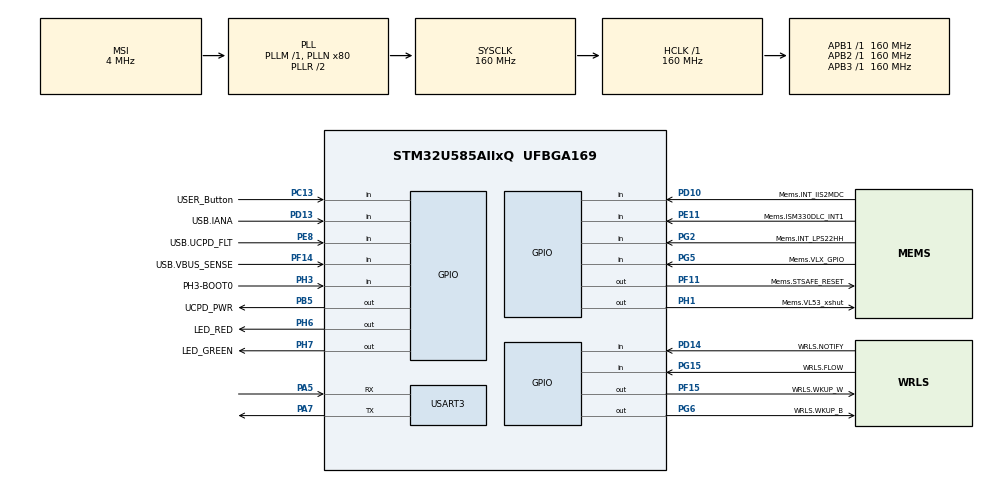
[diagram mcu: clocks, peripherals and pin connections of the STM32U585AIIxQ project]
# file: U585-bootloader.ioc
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CORTEX_M33_NS.userName=CORTEX_M33
CRC.InputDataFormat=CRC_INPUTDATA_FORMAT_WORDS
GPDMA1.CIRCULARMODE_GPDMACH10=DISABLE
GPDMA1.DATAHANDLING_GPDMACH10=NONE
GPDMA1.DESTINC_GPDMACH10=DMA_DINC_INCREMENTED
GPDMA1.DIRECTION_GPDMACH11=DMA_MEMORY_TO_PERIPH
GPDMA1.IPHANDLE_GPDMACH10-SIMPLEREQUEST_GPDMACH10=__NULL
GPDMA1.IPHANDLE_GPDMACH11-SIMPLEREQUEST_GPDMACH11=__NULL
GPDMA1.REQUEST_GPDMACH10=GPDMA1_REQUEST_USART3_RX
GPDMA1.REQUEST_GPDMACH11=GPDMA1_REQUEST_USART3_TX
GPDMA1.SRCINC_GPDMACH10=DMA_SINC_FIXED
GPDMA1.TRANSFERALLOCATEDPORTDEST_GPDMACH11=DMA_DEST_ALLOCATED_PORT1
GPDMA1.TRANSFERALLOCATEDPORTSRC_GPDMACH11=DMA_SRC_ALLOCATED_PORT1
Mcu.Family=STM32U5
Mcu.Name=STM32U585AIIxQ
Mcu.Package=UFBGA169
NVIC.GPDMA1_Channel10_IRQn=true\:0\:0\:false\:false\:true\:false\:true\:true
NVIC.GPDMA1_Channel11_IRQn=true\:0\:0\:false\:false\:true\:false\:true\:true
NVIC.PriorityGroup=NVIC_PRIORITYGROUP_4
NVIC.USART3_IRQn=true\:0\:0\:false\:false\:true\:true\:true\:true
PA10.GPIO_Label=T.VCP_RX
PA10.Signal=USART1_RX
PA11.GPIO_Label=USB.C_P
PA11.Signal=USB_OTG_FS_DM
PA12.GPIO_Label=USB.C_P
PA12.Signal=USB_OTG_FS_DP
PA13\ (JTMS/SWDIO).GPIO_Label=T.SWDIO
PA13\ (JTMS/SWDIO).Signal=DEBUG_JTMS-SWDIO
PA14\ (JTCK/SWCLK).GPIO_Label=T.SWCLK
PA14\ (JTCK/SWCLK).Signal=DEBUG_JTCK-SWCLK
PA15\ (JTDI).GPIO_Label=USB.UCPD_CC1
PA15\ (JTDI).Signal=UCPD1_CC1
PA5.Mode=Asynchronous
PA5.Signal=USART3_RX
PA7.Mode=Asynchronous
PA7.Signal=USART3_TX
PA9.GPIO_Label=T.VCP_TX
PA9.Signal=USART1_TX
PB1.GPIO_Label=MIC.SDIN0
PB1.Signal=MDF1_SDI0
PB10.GPIO_Label=OCTOSPI.R_CLK_P
PB10.Signal=OCTOSPIM_P1_CLK
PB11.GPIO_Label=OCTOSPI.R_NCS
PB11.Signal=OCTOSPIM_P1_NCS
PB12.GPIO_Label=WRLS.SPI2_NSS
PB12.Signal=SPI2_NSS
PB15.GPIO_Label=USB.UCPD_CC2
PB15.Signal=UCPD1_CC2
PB3\ (JTDO/TRACESWO).GPIO_Label=T.SWO
PB3\ (JTDO/TRACESWO).Signal=DEBUG_JTDO-SWO
PB5.GPIO_Label=UCPD_PWR
PB5.Signal=GPIO_Output
PB8.Signal=I2C1_SCL
PB9.Signal=I2C1_SDA
PC10.GPIO_Label=WRLS.UART4_TX
PC10.Signal=UART4_TX
PC11.GPIO_Label=WRLS.UART4_RX
PC11.Signal=UART4_RX
PC13.GPIO_Label=USER_Button
PC13.Signal=GPIO_Input
PC14-OSC32_IN\ (PC14).GPIO_Label=PC14-OSC32_IN
PC14-OSC32_IN\ (PC14).Signal=RCC_OSC32_IN
PC15-OSC32_OUT\ (PC15).GPIO_Label=PC15-OSC32_OUT
PC15-OSC32_OUT\ (PC15).Signal=RCC_OSC32_OUT
PC3.GPIO_Label=OCTOSPI.R_IO6
PC3.Signal=OCTOSPIM_P1_IO6
PD1.GPIO_Label=WRLS.SPI2_SCK
PD1.Signal=SPI2_SCK
PD10.GPIO_Label=Mems.INT_IIS2MDC
PD10.Signal=GPIO_Input
PD13.GPIO_Label=USB.IANA
PD13.Signal=GPIO_Input
PD14.GPIO_Label=WRLS.NOTIFY
PD14.Signal=GPIO_Input
PD3.GPIO_Label=WRLS.SPI2_MISO
PD3.Signal=SPI2_MISO
PD4.GPIO_Label=WRLS.SPI2_MOSI
PD4.Signal=SPI2_MOSI
PD7.GPIO_Label=OCTOSPI.R_IO7
PD7.Signal=OCTOSPIM_P1_IO7
PE10.GPIO_Label=MIC.SDINx
PE10.Signal=ADF1_SDI0
PE11.GPIO_Label=Mems.ISM330DLC_INT1
PE11.Signal=GPIO_Input
PE3.GPIO_Label=OCTOSPI.R_DQS
PE3.Signal=OCTOSPIM_P1_DQS
PE8.GPIO_Label=USB.UCPD_FLT
PE8.Signal=GPIO_Input
PE9.GPIO_Label=MIC.CCK0
PE9.Signal=ADF1_CCK0
PF0.GPIO_Label=OCTOSPI.F_IO0
PF0.Signal=OCTOSPIM_P2_IO0
PF1.GPIO_Label=OCTOSPI.F_IO1
PF1.Signal=OCTOSPIM_P2_IO1
PF10.GPIO_Label=MIC.CCK1
PF10.Signal=MDF1_CCK1
PF11.GPIO_Label=Mems.STSAFE_RESET
PF11.Signal=GPIO_Output
PF12.GPIO_Label=OCTOSPI.F_DQS
PF12.Signal=OCTOSPIM_P2_DQS
PF14.GPIO_Label=USB.VBUS_SENSE
PF14.Signal=GPIO_Input
PF15.GPIO_Label=WRLS.WKUP_W
PF15.Signal=GPIO_Output
PF2.GPIO_Label=OCTOSPI.F_IO2
PF2.Signal=OCTOSPIM_P2_IO2
PF3.GPIO_Label=OCTOSPI.F_IO3
PF3.Signal=OCTOSPIM_P2_IO3
PF4.GPIO_Label=OCTOSPI.F_CLK_P
PF4.Signal=OCTOSPIM_P2_CLK
PF6.GPIO_Label=OCTOSPI.R_IO3
PF6.Signal=OCTOSPIM_P1_IO3
PF7.GPIO_Label=OCTOSPI.R_IO2
PF7.Signal=OCTOSPIM_P1_IO2
PF8.GPIO_Label=OCTOSPI.R_IO0
PF8.Signal=OCTOSPIM_P1_IO0
PF9.GPIO_Label=OCTOSPI.R_IO1
PF9.Signal=OCTOSPIM_P1_IO1
PG15.GPIO_Label=WRLS.FLOW
PG15.Signal=GPIO_Input
PG2.GPIO_Label=Mems.INT_LPS22HH
PG2.Signal=GPIO_Input
PG5.GPIO_Label=Mems.VLX_GPIO
PG5.Signal=GPIO_Input
PG6.GPIO_Label=WRLS.WKUP_B
PG6.Signal=GPIO_Output
PH1-OSC_OUT\ (PH1).GPIO_Label=Mems.VL53_xshut
PH1-OSC_OUT\ (PH1).Signal=GPIO_Output
PH10.GPIO_Label=OCTOSPI.F_IO5
PH10.Signal=OCTOSPIM_P2_IO5
PH11.GPIO_Label=OCTOSPI.F_IO6
PH11.Signal=OCTOSPIM_P2_IO6
PH12.GPIO_Label=OCTOSPI.F_IO7
PH12.Signal=OCTOSPIM_P2_IO7
PH2.GPIO_Label=OCTOSPI.R_IO4
PH2.Signal=OCTOSPIM_P1_IO4
PH3-BOOT0.GPIO_Label=PH3-BOOT0
PH3-BOOT0.Signal=GPIO_Input
PH4.Signal=I2C2_SCL
PH5.Signal=I2C2_SDA
PH6.GPIO_Label=LED_RED
PH6.Signal=GPIO_Output
PH7.GPIO_Label=LED_GREEN
PH7.Signal=GPIO_Output
PH9.GPIO_Label=OCTOSPI.F_IO4
PH9.Signal=OCTOSPIM_P2_IO4
PI0.GPIO_Label=OCTOSPI.R_IO5
PI0.Signal=OCTOSPIM_P1_IO5
PI5.GPIO_Label=OCTOSPI.F_NCS
PI5.Signal=OCTOSPIM_P2_NCS
PWR.PowerMode=PWR_SMPS_SUPPLY
ProjectManager.HeapSize=0x200
ProjectManager.StackSize=0x400
ProjectManager.TargetToolchain=STM32CubeIDE
RCC.ADCFreq_Value=16000000
RCC.AHBFreq_Value=160000000
RCC.APB1Freq_Value=160000000
RCC.APB1TimFreq_Value=160000000
RCC.APB2Freq_Value=160000000
RCC.APB2TimFreq_Value=160000000
RCC.APB3Freq_Value=160000000
RCC.CortexFreq_Value=160000000
RCC.DACCLockSelectionVirtual=RCC_DAC1CLKSOURCE_LSI
RCC.EPOD_VALUE=4000000
RCC.HCLKFreq_Value=160000000
RCC.HSE_VALUE=16000000
RCC.HSI48_VALUE=48000000
RCC.HSI_VALUE=16000000
RCC.LSE_VALUE=32768
RCC.LSIDIV_VALUE=32000
RCC.MSI_VALUE=4000000
RCC.PLLN=80
RCC.SYSCLKFreq_VALUE=160000000
RCC.SYSCLKSource=RCC_SYSCLKSOURCE_PLLCLK
RCC.USBFreq_Value=48000000
RCC.VCOOutputFreq_Value=320000000
USART3.VirtualMode-Asynchronous=VM_ASYNC
VP_CRC_VS_CRC.Mode=CRC_Activate
VP_GPDMA1_VS_GPDMACH10.Mode=SIMPLEREQUEST_GPDMACH10
VP_GPDMA1_VS_GPDMACH11.Mode=SIMPLEREQUEST_GPDMACH11
VP_ICACHE_VS_ICACHE.Mode=DirectMappedCache
VP_LPBAMQUEUE_VS_QUEUE.Mode=QUEUEMODE
VP_LPBAM_VS_SIG1.Mode=SmartRun
VP_LPBAM_VS_SIG4.Mode=LPDMA1
VP_MEMORYMAP_VS_MEMORYMAP.Mode=CurAppReg
VP_PWR_VS_LPOM.Mode=PowerOptimisation
VP_PWR_VS_SECSignals.Mode=Security/Privilege
board=B-U585I-IOT02A

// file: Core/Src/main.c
/* USER CODE BEGIN Header */
/**
  ******************************************************************************
  * @file           : main.c
  * @brief          : Main program body
  ******************************************************************************
  * @attention
  *
  * Copyright (c) 2025 STMicroelectronics.
  * All rights reserved.
  *
  * This software is licensed under terms that can be found in the LICENSE file
  * in the root directory of this software component.
  * If no LICENSE file comes with this software, it is provided AS-IS.
  *
  ******************************************************************************
  */
/* USER CODE END Header */
#include "main.h"

/* USER CODE BEGIN Includes */
#include "stdio.h"
#include "serial_port.h"
#include "string.h"
#include "flash_control.h"
/* USER CODE END Includes */

CRC_HandleTypeDef hcrc;

UART_HandleTypeDef huart3;
DMA_HandleTypeDef handle_GPDMA1_Channel11;
DMA_HandleTypeDef handle_GPDMA1_Channel10;

/* USER CODE BEGIN PV */
uint8_t received_data[400];
static uint16_t uart_size;
/* USER CODE END PV */

void SystemClock_Config(void);
static void SystemPower_Config(void);
static void MX_GPIO_Init(void);
static void MX_GPDMA1_Init(void);
static void MX_ICACHE_Init(void);
static void MX_CRC_Init(void);
static void MX_USART3_UART_Init(void);

/* USER CODE BEGIN 0 */
void HAL_UARTEx_RxEventCallback(UART_HandleTypeDef *huart, uint16_t Size)
{
	uart_size = Size;
	HAL_UARTEx_ReceiveToIdle_DMA(&huart3, received_data, sizeof(received_data));
	update_firmware(received_data, uart_size);
}
/* USER CODE END 0 */

int main(void)
{

  /* MCU Configuration--------------------------------------------------------*/

  /* Reset of all peripherals, Initializes the Flash interface and the Systick. */
  HAL_Init();

  /* Configure the System Power */
  SystemPower_Config();

  /* Configure the system clock */
  SystemClock_Config();

  /* Initialize all configured peripherals */
  MX_GPIO_Init();
  MX_GPDMA1_Init();
  MX_ICACHE_Init();
  MX_CRC_Init();
  MX_USART3_UART_Init();

  /* USER CODE BEGIN 2 */
  HAL_UARTEx_ReceiveToIdle_DMA(&huart3, received_data, sizeof(received_data));
  HAL_GPIO_WritePin(LED_GREEN_GPIO_Port, LED_GREEN_Pin, GPIO_PIN_SET);
  HAL_GPIO_WritePin(LED_RED_GPIO_Port, LED_RED_Pin, GPIO_PIN_SET);
  /* USER CODE END 2 */
  /* Infinite loop */
  /* USER CODE BEGIN WHILE */
  while (1)
  {
	  HAL_GPIO_WritePin(LED_GREEN_GPIO_Port, LED_GREEN_Pin, GPIO_PIN_RESET);
	  HAL_Delay(100);
	  HAL_GPIO_WritePin(LED_GREEN_GPIO_Port, LED_GREEN_Pin, GPIO_PIN_SET);
	  HAL_Delay(100);
    /* USER CODE END WHILE */

  }
}

void SystemClock_Config(void)
{
  RCC_OscInitTypeDef RCC_OscInitStruct = {0};
  RCC_ClkInitTypeDef RCC_ClkInitStruct = {0};

  /** Configure the main internal regulator output voltage
  */
  if (HAL_PWREx_ControlVoltageScaling(PWR_REGULATOR_VOLTAGE_SCALE1) != HAL_OK)
  {
    Error_Handler();
  }

  /** Initializes the CPU, AHB and APB buses clocks
  */
  RCC_OscInitStruct.OscillatorType = RCC_OSCILLATORTYPE_MSI;
  RCC_OscInitStruct.MSIState = RCC_MSI_ON;
  RCC_OscInitStruct.MSICalibrationValue = RCC_MSICALIBRATION_DEFAULT;
  RCC_OscInitStruct.MSIClockRange = RCC_MSIRANGE_4;
  RCC_OscInitStruct.PLL.PLLState = RCC_PLL_ON;
  RCC_OscInitStruct.PLL.PLLSource = RCC_PLLSOURCE_MSI;
  RCC_OscInitStruct.PLL.PLLMBOOST = RCC_PLLMBOOST_DIV1;
  RCC_OscInitStruct.PLL.PLLM = 1;
  RCC_OscInitStruct.PLL.PLLN = 80;
  RCC_OscInitStruct.PLL.PLLP = 2;
  RCC_OscInitStruct.PLL.PLLQ = 2;
  RCC_OscInitStruct.PLL.PLLR = 2;
  RCC_OscInitStruct.PLL.PLLRGE = RCC_PLLVCIRANGE_0;
  RCC_OscInitStruct.PLL.PLLFRACN = 0;
  if (HAL_RCC_OscConfig(&RCC_OscInitStruct) != HAL_OK)
  {
    Error_Handler();
  }

  /** Initializes the CPU, AHB and APB buses clocks
  */
  RCC_ClkInitStruct.ClockType = RCC_CLOCKTYPE_HCLK|RCC_CLOCKTYPE_SYSCLK
                              |RCC_CLOCKTYPE_PCLK1|RCC_CLOCKTYPE_PCLK2
                              |RCC_CLOCKTYPE_PCLK3;
  RCC_ClkInitStruct.SYSCLKSource = RCC_SYSCLKSOURCE_PLLCLK;
  RCC_ClkInitStruct.AHBCLKDivider = RCC_SYSCLK_DIV1;
  RCC_ClkInitStruct.APB1CLKDivider = RCC_HCLK_DIV1;
  RCC_ClkInitStruct.APB2CLKDivider = RCC_HCLK_DIV1;
  RCC_ClkInitStruct.APB3CLKDivider = RCC_HCLK_DIV1;

  if (HAL_RCC_ClockConfig(&RCC_ClkInitStruct, FLASH_LATENCY_4) != HAL_OK)
  {
    Error_Handler();
  }
}

/**
  * @brief Power Configuration
  * @retval None
  */
static void SystemPower_Config(void)
{
  HAL_PWREx_EnableVddIO2();

  /*
   * Switch to SMPS regulator instead of LDO
   */
  if (HAL_PWREx_ConfigSupply(PWR_SMPS_SUPPLY) != HAL_OK)
  {
    Error_Handler();
  }
}

static void MX_CRC_Init(void)
{

  hcrc.Instance = CRC;
  hcrc.Init.DefaultPolynomialUse = DEFAULT_POLYNOMIAL_ENABLE;
  hcrc.Init.DefaultInitValueUse = DEFAULT_INIT_VALUE_ENABLE;
  hcrc.Init.InputDataInversionMode = CRC_INPUTDATA_INVERSION_NONE;
  hcrc.Init.OutputDataInversionMode = CRC_OUTPUTDATA_INVERSION_DISABLE;
  hcrc.InputDataFormat = CRC_INPUTDATA_FORMAT_WORDS;
  if (HAL_CRC_Init(&hcrc) != HAL_OK)
  {
    Error_Handler();
  }

}

static void MX_GPDMA1_Init(void)
{

  /* Peripheral clock enable */
  __HAL_RCC_GPDMA1_CLK_ENABLE();

  /* GPDMA1 interrupt Init */
    HAL_NVIC_SetPriority(GPDMA1_Channel10_IRQn, 0, 0);
    HAL_NVIC_EnableIRQ(GPDMA1_Channel10_IRQn);
    HAL_NVIC_SetPriority(GPDMA1_Channel11_IRQn, 0, 0);
    HAL_NVIC_EnableIRQ(GPDMA1_Channel11_IRQn);

}

static void MX_ICACHE_Init(void)
{

  /** Enable instruction cache in 1-way (direct mapped cache)
  */
  if (HAL_ICACHE_ConfigAssociativityMode(ICACHE_1WAY) != HAL_OK)
  {
    Error_Handler();
  }
  if (HAL_ICACHE_Enable() != HAL_OK)
  {
    Error_Handler();
  }

}

static void MX_USART3_UART_Init(void)
{

  huart3.Instance = USART3;
  huart3.Init.BaudRate = 115200;
  huart3.Init.WordLength = UART_WORDLENGTH_8B;
  huart3.Init.StopBits = UART_STOPBITS_1;
  huart3.Init.Parity = UART_PARITY_NONE;
  huart3.Init.Mode = UART_MODE_TX_RX;
  huart3.Init.HwFlowCtl = UART_HWCONTROL_NONE;
  huart3.Init.OverSampling = UART_OVERSAMPLING_16;
  huart3.Init.OneBitSampling = UART_ONE_BIT_SAMPLE_DISABLE;
  huart3.Init.ClockPrescaler = UART_PRESCALER_DIV1;
  huart3.AdvancedInit.AdvFeatureInit = UART_ADVFEATURE_NO_INIT;
  if (HAL_UART_Init(&huart3) != HAL_OK)
  {
    Error_Handler();
  }
  if (HAL_UARTEx_SetTxFifoThreshold(&huart3, UART_TXFIFO_THRESHOLD_1_8) != HAL_OK)
  {
    Error_Handler();
  }
  if (HAL_UARTEx_SetRxFifoThreshold(&huart3, UART_RXFIFO_THRESHOLD_1_8) != HAL_OK)
  {
    Error_Handler();
  }
  if (HAL_UARTEx_DisableFifoMode(&huart3) != HAL_OK)
  {
    Error_Handler();
  }

}

static void MX_GPIO_Init(void)
{
  GPIO_InitTypeDef GPIO_InitStruct = {0};

  /* GPIO Ports Clock Enable */
  __HAL_RCC_GPIOG_CLK_ENABLE();
  __HAL_RCC_GPIOC_CLK_ENABLE();
  __HAL_RCC_GPIOA_CLK_ENABLE();
  __HAL_RCC_GPIOI_CLK_ENABLE();
  __HAL_RCC_GPIOH_CLK_ENABLE();
  __HAL_RCC_GPIOB_CLK_ENABLE();
  __HAL_RCC_GPIOD_CLK_ENABLE();
  __HAL_RCC_GPIOE_CLK_ENABLE();
  __HAL_RCC_GPIOF_CLK_ENABLE();

  /*Configure GPIO pin Output Level */
  HAL_GPIO_WritePin(UCPD_PWR_GPIO_Port, UCPD_PWR_Pin, GPIO_PIN_RESET);

  /*Configure GPIO pin Output Level */
  HAL_GPIO_WritePin(GPIOH, LED_RED_Pin|LED_GREEN_Pin|Mems_VL53_xshut_Pin, GPIO_PIN_RESET);

  /*Configure GPIO pin Output Level */
  HAL_GPIO_WritePin(WRLS_WKUP_B_GPIO_Port, WRLS_WKUP_B_Pin, GPIO_PIN_RESET);

  /*Configure GPIO pin Output Level */
  HAL_GPIO_WritePin(GPIOF, Mems_STSAFE_RESET_Pin|WRLS_WKUP_W_Pin, GPIO_PIN_RESET);

  /*Configure GPIO pins : WRLS_FLOW_Pin Mems_VLX_GPIO_Pin Mems_INT_LPS22HH_Pin */
  GPIO_InitStruct.Pin = WRLS_FLOW_Pin|Mems_VLX_GPIO_Pin|Mems_INT_LPS22HH_Pin;
  GPIO_InitStruct.Mode = GPIO_MODE_INPUT;
  GPIO_InitStruct.Pull = GPIO_NOPULL;
  HAL_GPIO_Init(GPIOG, &GPIO_InitStruct);

  /*Configure GPIO pins : WRLS_UART4_RX_Pin WRLS_UART4_TX_Pin */
  GPIO_InitStruct.Pin = WRLS_UART4_RX_Pin|WRLS_UART4_TX_Pin;
  GPIO_InitStruct.Mode = GPIO_MODE_AF_PP;
  GPIO_InitStruct.Pull = GPIO_NOPULL;
  GPIO_InitStruct.Speed = GPIO_SPEED_FREQ_LOW;
  GPIO_InitStruct.Alternate = GPIO_AF8_UART4;
  HAL_GPIO_Init(GPIOC, &GPIO_InitStruct);

  /*Configure GPIO pin : USB_UCPD_CC1_Pin */
  GPIO_InitStruct.Pin = USB_UCPD_CC1_Pin;
  GPIO_InitStruct.Mode = GPIO_MODE_ANALOG;
  GPIO_InitStruct.Pull = GPIO_NOPULL;
  HAL_GPIO_Init(USB_UCPD_CC1_GPIO_Port, &GPIO_InitStruct);

  /*Configure GPIO pin : OCTOSPI_F_NCS_Pin */
  GPIO_InitStruct.Pin = OCTOSPI_F_NCS_Pin;
  GPIO_InitStruct.Mode = GPIO_MODE_AF_PP;
  GPIO_InitStruct.Pull = GPIO_NOPULL;
  GPIO_InitStruct.Speed = GPIO_SPEED_FREQ_VERY_HIGH;
  GPIO_InitStruct.Alternate = GPIO_AF5_OCTOSPI2;
  HAL_GPIO_Init(OCTOSPI_F_NCS_GPIO_Port, &GPIO_InitStruct);

  /*Configure GPIO pin : OCTOSPI_R_IO5_Pin */
  GPIO_InitStruct.Pin = OCTOSPI_R_IO5_Pin;
  GPIO_InitStruct.Mode = GPIO_MODE_AF_PP;
  GPIO_InitStruct.Pull = GPIO_NOPULL;
  GPIO_InitStruct.Speed = GPIO_SPEED_FREQ_VERY_HIGH;
  GPIO_InitStruct.Alternate = GPIO_AF3_OCTOSPI1;
  HAL_GPIO_Init(OCTOSPI_R_IO5_GPIO_Port, &GPIO_InitStruct);

  /*Configure GPIO pins : OCTOSPI_F_IO7_Pin OCTOSPI_F_IO5_Pin OCTOSPI_F_IO6_Pin OCTOSPI_F_IO4_Pin */
  GPIO_InitStruct.Pin = OCTOSPI_F_IO7_Pin|OCTOSPI_F_IO5_Pin|OCTOSPI_F_IO6_Pin|OCTOSPI_F_IO4_Pin;
  GPIO_InitStruct.Mode = GPIO_MODE_AF_PP;
  GPIO_InitStruct.Pull = GPIO_NOPULL;
  GPIO_InitStruct.Speed = GPIO_SPEED_FREQ_VERY_HIGH;
  GPIO_InitStruct.Alternate = GPIO_AF5_OCTOSPI2;
  HAL_GPIO_Init(GPIOH, &GPIO_InitStruct);

  /*Configure GPIO pin : PH3_BOOT0_Pin */
  GPIO_InitStruct.Pin = PH3_BOOT0_Pin;
  GPIO_InitStruct.Mode = GPIO_MODE_INPUT;
  GPIO_InitStruct.Pull = GPIO_NOPULL;
  HAL_GPIO_Init(PH3_BOOT0_GPIO_Port, &GPIO_InitStruct);

  /*Configure GPIO pin : UCPD_PWR_Pin */
  GPIO_InitStruct.Pin = UCPD_PWR_Pin;
  GPIO_InitStruct.Mode = GPIO_MODE_OUTPUT_PP;
  GPIO_InitStruct.Pull = GPIO_NOPULL;
  GPIO_InitStruct.Speed = GPIO_SPEED_FREQ_LOW;
  HAL_GPIO_Init(UCPD_PWR_GPIO_Port, &GPIO_InitStruct);

  /*Configure GPIO pins : WRLS_SPI2_MOSI_Pin WRLS_SPI2_MISO_Pin WRLS_SPI2_SCK_Pin */
  GPIO_InitStruct.Pin = WRLS_SPI2_MOSI_Pin|WRLS_SPI2_MISO_Pin|WRLS_SPI2_SCK_Pin;
  GPIO_InitStruct.Mode = GPIO_MODE_AF_PP;
  GPIO_InitStruct.Pull = GPIO_NOPULL;
  GPIO_InitStruct.Speed = GPIO_SPEED_FREQ_LOW;
  GPIO_InitStruct.Alternate = GPIO_AF5_SPI2;
  HAL_GPIO_Init(GPIOD, &GPIO_InitStruct);

  /*Configure GPIO pin : OCTOSPI_R_DQS_Pin */
  GPIO_InitStruct.Pin = OCTOSPI_R_DQS_Pin;
  GPIO_InitStruct.Mode = GPIO_MODE_AF_PP;
  GPIO_InitStruct.Pull = GPIO_NOPULL;
  GPIO_InitStruct.Speed = GPIO_SPEED_FREQ_VERY_HIGH;
  GPIO_InitStruct.Alternate = GPIO_AF3_OCTOSPI1;
  HAL_GPIO_Init(OCTOSPI_R_DQS_GPIO_Port, &GPIO_InitStruct);

  /*Configure GPIO pins : PB9 PB8 */
  GPIO_InitStruct.Pin = GPIO_PIN_9|GPIO_PIN_8;
  GPIO_InitStruct.Mode = GPIO_MODE_AF_OD;
  GPIO_InitStruct.Pull = GPIO_NOPULL;
  GPIO_InitStruct.Speed = GPIO_SPEED_FREQ_LOW;
  GPIO_InitStruct.Alternate = GPIO_AF4_I2C1;
  HAL_GPIO_Init(GPIOB, &GPIO_InitStruct);

  /*Configure GPIO pin : OCTOSPI_R_IO7_Pin */
  GPIO_InitStruct.Pin = OCTOSPI_R_IO7_Pin;
  GPIO_InitStruct.Mode = GPIO_MODE_AF_PP;
  GPIO_InitStruct.Pull = GPIO_NOPULL;
  GPIO_InitStruct.Speed = GPIO_SPEED_FREQ_VERY_HIGH;
  GPIO_InitStruct.Alternate = GPIO_AF10_OCTOSPI1;
  HAL_GPIO_Init(OCTOSPI_R_IO7_GPIO_Port, &GPIO_InitStruct);

  /*Configure GPIO pins : OCTOSPI_F_IO0_Pin OCTOSPI_F_IO1_Pin OCTOSPI_F_IO2_Pin OCTOSPI_F_IO3_Pin
                           OCTOSPI_F_CLK_P_Pin OCTOSPI_F_DQS_Pin */
  GPIO_InitStruct.Pin = OCTOSPI_F_IO0_Pin|OCTOSPI_F_IO1_Pin|OCTOSPI_F_IO2_Pin|OCTOSPI_F_IO3_Pin
                          |OCTOSPI_F_CLK_P_Pin|OCTOSPI_F_DQS_Pin;
  GPIO_InitStruct.Mode = GPIO_MODE_AF_PP;
  GPIO_InitStruct.Pull = GPIO_NOPULL;
  GPIO_InitStruct.Speed = GPIO_SPEED_FREQ_VERY_HIGH;
  GPIO_InitStruct.Alternate = GPIO_AF5_OCTOSPI2;
  HAL_GPIO_Init(GPIOF, &GPIO_InitStruct);

  /*Configure GPIO pin : USER_Button_Pin */
  GPIO_InitStruct.Pin = USER_Button_Pin;
  GPIO_InitStruct.Mode = GPIO_MODE_INPUT;
  GPIO_InitStruct.Pull = GPIO_NOPULL;
  HAL_GPIO_Init(USER_Button_GPIO_Port, &GPIO_InitStruct);

  /*Configure GPIO pins : PH4 PH5 */
  GPIO_InitStruct.Pin = GPIO_PIN_4|GPIO_PIN_5;
  GPIO_InitStruct.Mode = GPIO_MODE_AF_OD;
  GPIO_InitStruct.Pull = GPIO_NOPULL;
  GPIO_InitStruct.Speed = GPIO_SPEED_FREQ_LOW;
  GPIO_InitStruct.Alternate = GPIO_AF4_I2C2;
  HAL_GPIO_Init(GPIOH, &GPIO_InitStruct);

  /*Configure GPIO pins : LED_RED_Pin LED_GREEN_Pin Mems_VL53_xshut_Pin */
  GPIO_InitStruct.Pin = LED_RED_Pin|LED_GREEN_Pin|Mems_VL53_xshut_Pin;
  GPIO_InitStruct.Mode = GPIO_MODE_OUTPUT_PP;
  GPIO_InitStruct.Pull = GPIO_NOPULL;
  GPIO_InitStruct.Speed = GPIO_SPEED_FREQ_LOW;
  HAL_GPIO_Init(GPIOH, &GPIO_InitStruct);

  /*Configure GPIO pins : OCTOSPI_R_IO0_Pin OCTOSPI_R_IO2_Pin OCTOSPI_R_IO1_Pin OCTOSPI_R_IO3_Pin */
  GPIO_InitStruct.Pin = OCTOSPI_R_IO0_Pin|OCTOSPI_R_IO2_Pin|OCTOSPI_R_IO1_Pin|OCTOSPI_R_IO3_Pin;
  GPIO_InitStruct.Mode = GPIO_MODE_AF_PP;
  GPIO_InitStruct.Pull = GPIO_NOPULL;
  GPIO_InitStruct.Speed = GPIO_SPEED_FREQ_VERY_HIGH;
  GPIO_InitStruct.Alternate = GPIO_AF10_OCTOSPI1;
  HAL_GPIO_Init(GPIOF, &GPIO_InitStruct);

  /*Configure GPIO pin : OCTOSPI_R_IO4_Pin */
  GPIO_InitStruct.Pin = OCTOSPI_R_IO4_Pin;
  GPIO_InitStruct.Mode = GPIO_MODE_AF_PP;
  GPIO_InitStruct.Pull = GPIO_NOPULL;
  GPIO_InitStruct.Speed = GPIO_SPEED_FREQ_VERY_HIGH;
  GPIO_InitStruct.Alternate = GPIO_AF3_OCTOSPI1;
  HAL_GPIO_Init(OCTOSPI_R_IO4_GPIO_Port, &GPIO_InitStruct);

  /*Configure GPIO pins : T_VCP_RX_Pin T_VCP_TX_Pin */
  GPIO_InitStruct.Pin = T_VCP_RX_Pin|T_VCP_TX_Pin;
  GPIO_InitStruct.Mode = GPIO_MODE_AF_PP;
  GPIO_InitStruct.Pull = GPIO_NOPULL;
  GPIO_InitStruct.Speed = GPIO_SPEED_FREQ_LOW;
  GPIO_InitStruct.Alternate = GPIO_AF7_USART1;
  HAL_GPIO_Init(GPIOA, &GPIO_InitStruct);

  /*Configure GPIO pins : USB_C_P_Pin USB_C_PA11_Pin */
  GPIO_InitStruct.Pin = USB_C_P_Pin|USB_C_PA11_Pin;
  GPIO_InitStruct.Mode = GPIO_MODE_AF_PP;
  GPIO_InitStruct.Pull = GPIO_NOPULL;
  GPIO_InitStruct.Speed = GPIO_SPEED_FREQ_LOW;
  GPIO_InitStruct.Alternate = GPIO_AF10_USB;
  HAL_GPIO_Init(GPIOA, &GPIO_InitStruct);

  /*Configure GPIO pin : MIC_CCK1_Pin */
  GPIO_InitStruct.Pin = MIC_CCK1_Pin;
  GPIO_InitStruct.Mode = GPIO_MODE_AF_PP;
  GPIO_InitStruct.Pull = GPIO_NOPULL;
  GPIO_InitStruct.Speed = GPIO_SPEED_FREQ_LOW;
  GPIO_InitStruct.Alternate = GPIO_AF6_MDF1;
  HAL_GPIO_Init(MIC_CCK1_GPIO_Port, &GPIO_InitStruct);

  /*Configure GPIO pins : MIC_SDINx_Pin MIC_CCK0_Pin */
  GPIO_InitStruct.Pin = MIC_SDINx_Pin|MIC_CCK0_Pin;
  GPIO_InitStruct.Mode = GPIO_MODE_AF_PP;
  GPIO_InitStruct.Pull = GPIO_NOPULL;
  GPIO_InitStruct.Speed = GPIO_SPEED_FREQ_LOW;
  GPIO_InitStruct.Alternate = GPIO_AF3_ADF1;
  HAL_GPIO_Init(GPIOE, &GPIO_InitStruct);

  /*Configure GPIO pin : WRLS_WKUP_B_Pin */
  GPIO_InitStruct.Pin = WRLS_WKUP_B_Pin;
  GPIO_InitStruct.Mode = GPIO_MODE_OUTPUT_PP;
  GPIO_InitStruct.Pull = GPIO_NOPULL;
  GPIO_InitStruct.Speed = GPIO_SPEED_FREQ_LOW;
  HAL_GPIO_Init(WRLS_WKUP_B_GPIO_Port, &GPIO_InitStruct);

  /*Configure GPIO pins : WRLS_NOTIFY_Pin Mems_INT_IIS2MDC_Pin USB_IANA_Pin */
  GPIO_InitStruct.Pin = WRLS_NOTIFY_Pin|Mems_INT_IIS2MDC_Pin|USB_IANA_Pin;
  GPIO_InitStruct.Mode = GPIO_MODE_INPUT;
  GPIO_InitStruct.Pull = GPIO_NOPULL;
  HAL_GPIO_Init(GPIOD, &GPIO_InitStruct);

  /*Configure GPIO pin : OCTOSPI_R_IO6_Pin */
  GPIO_InitStruct.Pin = OCTOSPI_R_IO6_Pin;
  GPIO_InitStruct.Mode = GPIO_MODE_AF_PP;
  GPIO_InitStruct.Pull = GPIO_NOPULL;
  GPIO_InitStruct.Speed = GPIO_SPEED_FREQ_VERY_HIGH;
  GPIO_InitStruct.Alternate = GPIO_AF10_OCTOSPI1;
  HAL_GPIO_Init(OCTOSPI_R_IO6_GPIO_Port, &GPIO_InitStruct);

  /*Configure GPIO pins : USB_UCPD_FLT_Pin Mems_ISM330DLC_INT1_Pin */
  GPIO_InitStruct.Pin = USB_UCPD_FLT_Pin|Mems_ISM330DLC_INT1_Pin;
  GPIO_InitStruct.Mode = GPIO_MODE_INPUT;
  GPIO_InitStruct.Pull = GPIO_NOPULL;
  HAL_GPIO_Init(GPIOE, &GPIO_InitStruct);

  /*Configure GPIO pins : OCTOSPI_R_CLK_P_Pin OCTOSPI_R_NCS_Pin */
  GPIO_InitStruct.Pin = OCTOSPI_R_CLK_P_Pin|OCTOSPI_R_NCS_Pin;
  GPIO_InitStruct.Mode = GPIO_MODE_AF_PP;
  GPIO_InitStruct.Pull = GPIO_NOPULL;
  GPIO_InitStruct.Speed = GPIO_SPEED_FREQ_VERY_HIGH;
  GPIO_InitStruct.Alternate = GPIO_AF10_OCTOSPI1;
  HAL_GPIO_Init(GPIOB, &GPIO_InitStruct);

  /*Configure GPIO pin : USB_VBUS_SENSE_Pin */
  GPIO_InitStruct.Pin = USB_VBUS_SENSE_Pin;
  GPIO_InitStruct.Mode = GPIO_MODE_INPUT;
  GPIO_InitStruct.Pull = GPIO_NOPULL;
  HAL_GPIO_Init(USB_VBUS_SENSE_GPIO_Port, &GPIO_InitStruct);

  /*Configure GPIO pin : WRLS_SPI2_NSS_Pin */
  GPIO_InitStruct.Pin = WRLS_SPI2_NSS_Pin;
  GPIO_InitStruct.Mode = GPIO_MODE_AF_PP;
  GPIO_InitStruct.Pull = GPIO_NOPULL;
  GPIO_InitStruct.Speed = GPIO_SPEED_FREQ_LOW;
  GPIO_InitStruct.Alternate = GPIO_AF5_SPI2;
  HAL_GPIO_Init(WRLS_SPI2_NSS_GPIO_Port, &GPIO_InitStruct);

  /*Configure GPIO pin : USB_UCPD_CC2_Pin */
  GPIO_InitStruct.Pin = USB_UCPD_CC2_Pin;
  GPIO_InitStruct.Mode = GPIO_MODE_ANALOG;
  GPIO_InitStruct.Pull = GPIO_NOPULL;
  HAL_GPIO_Init(USB_UCPD_CC2_GPIO_Port, &GPIO_InitStruct);

  /*Configure GPIO pins : Mems_STSAFE_RESET_Pin WRLS_WKUP_W_Pin */
  GPIO_InitStruct.Pin = Mems_STSAFE_RESET_Pin|WRLS_WKUP_W_Pin;
  GPIO_InitStruct.Mode = GPIO_MODE_OUTPUT_PP;
  GPIO_InitStruct.Pull = GPIO_NOPULL;
  GPIO_InitStruct.Speed = GPIO_SPEED_FREQ_LOW;
  HAL_GPIO_Init(GPIOF, &GPIO_InitStruct);

  /*Configure GPIO pin : MIC_SDIN0_Pin */
  GPIO_InitStruct.Pin = MIC_SDIN0_Pin;
  GPIO_InitStruct.Mode = GPIO_MODE_AF_PP;
  GPIO_InitStruct.Pull = GPIO_NOPULL;
  GPIO_InitStruct.Speed = GPIO_SPEED_FREQ_LOW;
  GPIO_InitStruct.Alternate = GPIO_AF6_MDF1;
  HAL_GPIO_Init(MIC_SDIN0_GPIO_Port, &GPIO_InitStruct);

}

/* USER CODE BEGIN 4 */
int _write(int file, char *ptr, int len)
{
  (void)file;
  int DataIdx;

  for (DataIdx = 0; DataIdx < len; DataIdx++)
  {
    ITM_SendChar(*ptr++);
  }
  return len;
}
/* USER CODE END 4 */

void Error_Handler(void)
{
  __disable_irq();
  while (1)
  {
  }
}
